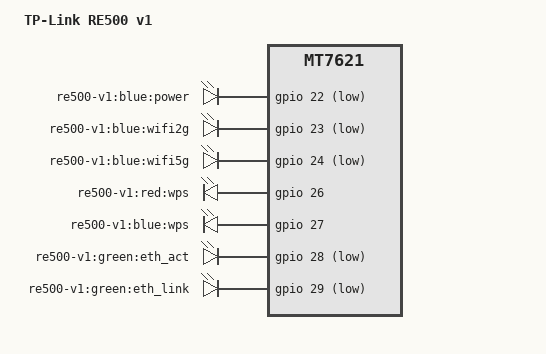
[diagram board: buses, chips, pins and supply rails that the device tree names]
// SPDX-License-Identifier: GPL-2.0-or-later OR MIT
/dts-v1/;

#include "mt7621_tplink_rexx0-v1.dtsi"

/ {
	compatible = "tplink,re500-v1", "mediatek,mt7621-soc";
	model = "TP-Link RE500 v1";

	aliases {
		led-boot = &led_power;
		led-failsafe = &led_power;
		led-running = &led_power;
		led-upgrade = &led_power;
	};

	leds {
		compatible = "gpio-leds";

		led_power: power {
			label = "re500-v1:blue:power";
			gpios = <&gpio 22 GPIO_ACTIVE_LOW>;
		};

		wifi2g {
			label = "re500-v1:blue:wifi2g";
			gpios = <&gpio 23 GPIO_ACTIVE_LOW>;
			linux,default-trigger = "phy0tpt";
		};

		wifi5g {
			label = "re500-v1:blue:wifi5g";
			gpios = <&gpio 24 GPIO_ACTIVE_LOW>;
			linux,default-trigger = "phy1tpt";
		};

		wps_red {
			label = "re500-v1:red:wps";
			gpios = <&gpio 26 GPIO_ACTIVE_HIGH>;
		};

		wps_blue {
			label = "re500-v1:blue:wps";
			gpios = <&gpio 27 GPIO_ACTIVE_HIGH>;
		};

		eth_act {
			label = "re500-v1:green:eth_act";
			gpios = <&gpio 28 GPIO_ACTIVE_LOW>;
		};

		eth_link {
			label = "re500-v1:green:eth_link";
			gpios = <&gpio 29 GPIO_ACTIVE_LOW>;
		};
	};
};

&state_default {
	gpio {
		groups = "rgmii2", "wdt";
		function = "gpio";
	};
};
